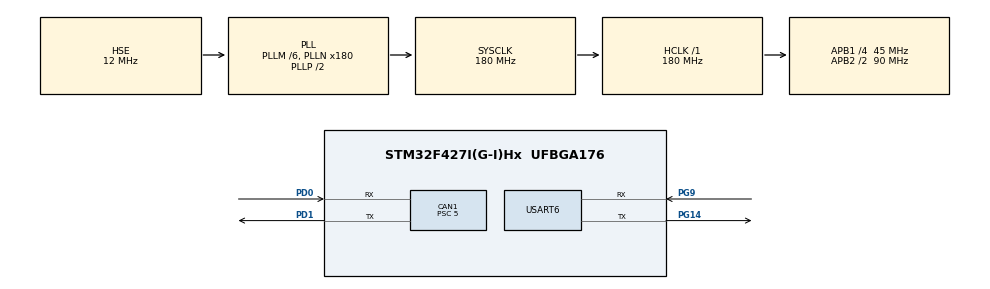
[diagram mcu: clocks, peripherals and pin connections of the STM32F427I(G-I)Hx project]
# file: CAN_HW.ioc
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CAN1.ABOM=ENABLE
CAN1.BS1=CAN_BS1_6TQ
CAN1.BS2=CAN_BS2_2TQ
CAN1.CalculateBaudRate=1000000
CAN1.CalculateTimeBit=1000
CAN1.CalculateTimeQuantum=111.11111111111111
CAN1.Prescaler=5
Dma.Request0=USART6_TX
Dma.USART6_TX.0.Direction=DMA_MEMORY_TO_PERIPH
Dma.USART6_TX.0.FIFOMode=DMA_FIFOMODE_DISABLE
Dma.USART6_TX.0.Instance=DMA2_Stream6
Dma.USART6_TX.0.MemDataAlignment=DMA_MDATAALIGN_BYTE
Dma.USART6_TX.0.MemInc=DMA_MINC_ENABLE
Dma.USART6_TX.0.Mode=DMA_NORMAL
Dma.USART6_TX.0.PeriphDataAlignment=DMA_PDATAALIGN_BYTE
Dma.USART6_TX.0.PeriphInc=DMA_PINC_DISABLE
Dma.USART6_TX.0.Priority=DMA_PRIORITY_LOW
Mcu.Family=STM32F4
Mcu.Name=STM32F427I(G-I)Hx
Mcu.Package=UFBGA176
NVIC.CAN1_RX0_IRQn=true\:0\:0\:false\:false\:true\:true\:true\:true
NVIC.CAN1_RX1_IRQn=true\:0\:0\:false\:false\:true\:true\:true\:true
NVIC.CAN1_TX_IRQn=true\:0\:0\:false\:false\:true\:true\:true\:true
NVIC.DMA2_Stream6_IRQn=true\:0\:0\:false\:false\:true\:false\:true\:true
NVIC.PriorityGroup=NVIC_PRIORITYGROUP_4
NVIC.TIM6_DAC_IRQn=true\:0\:0\:false\:false\:true\:true\:true\:true
NVIC.USART6_IRQn=true\:0\:0\:false\:false\:true\:true\:true\:true
PA13.Mode=Serial_Wire
PA13.Signal=SYS_JTMS-SWDIO
PA14.Mode=Serial_Wire
PA14.Signal=SYS_JTCK-SWCLK
PD0.Mode=CAN_Activate
PD0.Signal=CAN1_RX
PD1.Mode=CAN_Activate
PD1.Signal=CAN1_TX
PG14.Mode=Asynchronous
PG14.Signal=USART6_TX
PG9.Mode=Asynchronous
PG9.Signal=USART6_RX
PH0/OSC_IN.Mode=HSE-External-Oscillator
PH0/OSC_IN.Signal=RCC_OSC_IN
PH1/OSC_OUT.Mode=HSE-External-Oscillator
PH1/OSC_OUT.Signal=RCC_OSC_OUT
ProjectManager.HeapSize=0x200
ProjectManager.StackSize=0x400
ProjectManager.TargetToolchain=STM32CubeIDE
RCC.48MHZClocksFreq_Value=90000000
RCC.AHBFreq_Value=180000000
RCC.APB1CLKDivider=RCC_HCLK_DIV4
RCC.APB1Freq_Value=45000000
RCC.APB1TimFreq_Value=90000000
RCC.APB2CLKDivider=RCC_HCLK_DIV2
RCC.APB2Freq_Value=90000000
RCC.APB2TimFreq_Value=180000000
RCC.CortexFreq_Value=180000000
RCC.HCLKFreq_Value=180000000
RCC.HSE_VALUE=12000000
RCC.HSI_VALUE=16000000
RCC.LSE_VALUE=32768
RCC.PLLM=6
RCC.PLLN=180
RCC.PLLSourceVirtual=RCC_PLLSOURCE_HSE
RCC.SYSCLKFreq_VALUE=180000000
RCC.SYSCLKSource=RCC_SYSCLKSOURCE_PLLCLK
RCC.VCOOutputFreq_Value=360000000
TIM6.Period=300
TIM6.Prescaler=60000
USART6.VirtualMode=VM_ASYNC
VP_TIM6_VS_ClockSourceINT.Mode=Enable_Timer
board=custom

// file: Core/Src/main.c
/* USER CODE BEGIN Header */
/**
  ******************************************************************************
  * @file           : main.c
  * @brief          : Main program body
  ******************************************************************************
  * @attention
  *
  * Copyright (c) 2024 STMicroelectronics.
  * All rights reserved.
  *
  * This software is licensed under terms that can be found in the LICENSE file
  * in the root directory of this software component.
  * If no LICENSE file comes with this software, it is provided AS-IS.
  *
  ******************************************************************************
  */
/* USER CODE END Header */
#include "main.h"
#include "can.h"
#include "dma.h"
#include "tim.h"
#include "usart.h"
#include "gpio.h"

/* USER CODE BEGIN Includes */
uint8_t rx_message[];
CAN_RxHeaderTypeDef rx_header;
CAN_TxHeaderTypeDef tx_header;
uint8_t tx_message[8];
uint32_t txMailBox;
/* USER CODE END Includes */

void SystemClock_Config(void);

int main(void)
{

  /* MCU Configuration--------------------------------------------------------*/

  /* Reset of all peripherals, Initializes the Flash interface and the Systick. */
  HAL_Init();

  /* Configure the system clock */
  SystemClock_Config();

  /* Initialize all configured peripherals */
  MX_GPIO_Init();
  MX_DMA_Init();
  MX_CAN1_Init();
  MX_USART6_UART_Init();
  MX_TIM6_Init();
  /* USER CODE BEGIN 2 */

  CAN_FilterTypeDef FilterConfig = {
  .FilterIdHigh = 0,
  .FilterIdLow = 0,
  .FilterMaskIdHigh = 0,
  .FilterMaskIdLow = 0,
  .FilterFIFOAssignment = 0,
  .FilterBank = 0,
  .FilterMode = 0,
  .FilterScale = 1,
  .FilterActivation = 1,
  .SlaveStartFilterBank = 0};
  HAL_CAN_ConfigFilter(&hcan1,&FilterConfig);
  HAL_CAN_Start(&hcan1);
  HAL_CAN_ActivateNotification(&hcan1, CAN_IT_RX_FIFO0_MSG_PENDING);

  HAL_TIM_Base_Start_IT(&htim6);
  /* USER CODE END 2 */

  /* Infinite loop */
  while (1)
  {

  }
}

void SystemClock_Config(void)
{
  RCC_OscInitTypeDef RCC_OscInitStruct = {0};
  RCC_ClkInitTypeDef RCC_ClkInitStruct = {0};

  /** Configure the main internal regulator output voltage
  */
  __HAL_RCC_PWR_CLK_ENABLE();
  __HAL_PWR_VOLTAGESCALING_CONFIG(PWR_REGULATOR_VOLTAGE_SCALE1);

  /** Initializes the RCC Oscillators according to the specified parameters
  * in the RCC_OscInitTypeDef structure.
  */
  RCC_OscInitStruct.OscillatorType = RCC_OSCILLATORTYPE_HSE;
  RCC_OscInitStruct.HSEState = RCC_HSE_ON;
  RCC_OscInitStruct.PLL.PLLState = RCC_PLL_ON;
  RCC_OscInitStruct.PLL.PLLSource = RCC_PLLSOURCE_HSE;
  RCC_OscInitStruct.PLL.PLLM = 6;
  RCC_OscInitStruct.PLL.PLLN = 180;
  RCC_OscInitStruct.PLL.PLLP = RCC_PLLP_DIV2;
  RCC_OscInitStruct.PLL.PLLQ = 4;
  if (HAL_RCC_OscConfig(&RCC_OscInitStruct) != HAL_OK)
  {
    Error_Handler();
  }

  /** Activate the Over-Drive mode
  */
  if (HAL_PWREx_EnableOverDrive() != HAL_OK)
  {
    Error_Handler();
  }

  /** Initializes the CPU, AHB and APB buses clocks
  */
  RCC_ClkInitStruct.ClockType = RCC_CLOCKTYPE_HCLK|RCC_CLOCKTYPE_SYSCLK
                              |RCC_CLOCKTYPE_PCLK1|RCC_CLOCKTYPE_PCLK2;
  RCC_ClkInitStruct.SYSCLKSource = RCC_SYSCLKSOURCE_PLLCLK;
  RCC_ClkInitStruct.AHBCLKDivider = RCC_SYSCLK_DIV1;
  RCC_ClkInitStruct.APB1CLKDivider = RCC_HCLK_DIV4;
  RCC_ClkInitStruct.APB2CLKDivider = RCC_HCLK_DIV2;

  if (HAL_RCC_ClockConfig(&RCC_ClkInitStruct, FLASH_LATENCY_5) != HAL_OK)
  {
    Error_Handler();
  }
}

void Error_Handler(void)
{
  __disable_irq();
  while (1)
  {
  }
}
